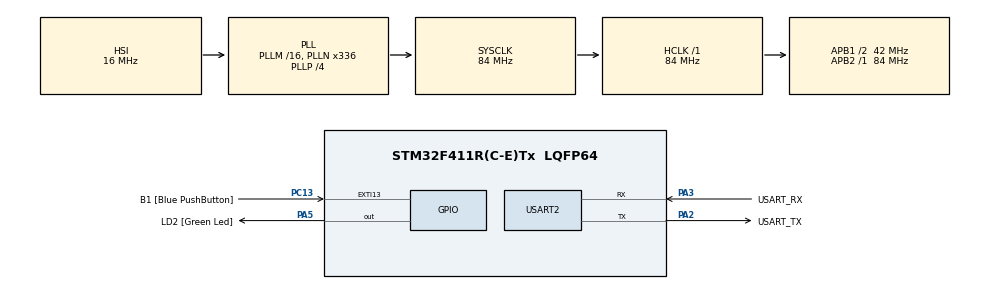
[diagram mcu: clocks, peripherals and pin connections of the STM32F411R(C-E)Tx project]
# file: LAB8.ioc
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Mcu.Family=STM32F4
PC15-OSC32_OUT.Mode=LSE-External-Oscillator
RCC.CortexFreq_Value=84000000
PC13-ANTI_TAMP.GPIO_Label=B1 [Blue PushButton]
PA14.GPIO_Label=TCK
PH1\ -\ OSC_OUT.Mode=HSE-External-Clock-Source
RCC.APB1CLKDivider=RCC_HCLK_DIV2
PC14-OSC32_IN.Signal=RCC_OSC32_IN
NVIC.USART2_IRQn=true\:0\:0\:false\:false\:true\:true\:true
RCC.SYSCLKSource=RCC_SYSCLKSOURCE_PLLCLK
ProjectManager.StackSize=0x400
PA13.Signal=SYS_JTMS-SWDIO
PA3.Mode=Asynchronous
PH0\ -\ OSC_IN.Mode=HSE-External-Clock-Source
PH0\ -\ OSC_IN.Signal=RCC_OSC_IN
ProjectManager.TargetToolchain=STM32CubeIDE
RCC.HCLKFreq_Value=84000000
RCC.APB2TimFreq_Value=84000000
PC15-OSC32_OUT.Signal=RCC_OSC32_OUT
RCC.AHBFreq_Value=84000000
PA5.Signal=GPIO_Output
RCC.HSE_VALUE=8000000
PH1\ -\ OSC_OUT.Signal=RCC_OSC_OUT
board=NUCLEO-F411RE
PC13-ANTI_TAMP.Signal=GPXTI13
RCC.VCOOutputFreq_Value=336000000
RCC.APB2Freq_Value=84000000
PC14-OSC32_IN.Mode=LSE-External-Oscillator
PA14.Mode=Serial_Wire
PA13.Mode=Serial_Wire
Mcu.Name=STM32F411R(C-E)Tx
PA2.Signal=USART2_TX
PA13.GPIO_Label=TMS
RCC.FLatency-AdvancedSettings=FLASH_LATENCY_2
RCC.48MHZClocksFreq_Value=84000000
PB3.Signal=SYS_JTDO-SWO
RCC.SYSCLKFreq_VALUE=84000000
Mcu.Package=LQFP64
PA5.GPIO_Label=LD2 [Green Led]
USART2.VirtualMode=VM_ASYNC
PC13-ANTI_TAMP.GPIO_ModeDefaultEXTI=GPIO_MODE_IT_FALLING
PA2.GPIO_Label=USART_TX
PA14.Signal=SYS_JTCK-SWCLK
ProjectManager.HeapSize=0x200
RCC.HSI_VALUE=16000000
RCC.PLLP=RCC_PLLP_DIV4
NVIC.PriorityGroup=NVIC_PRIORITYGROUP_0
RCC.PLLN=336
RCC.APB1TimFreq_Value=84000000
PA2.Mode=Asynchronous
RCC.APB1Freq_Value=42000000
PA3.GPIO_Label=USART_RX
PA3.Signal=USART2_RX
PB3.GPIO_Label=SWO

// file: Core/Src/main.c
/* USER CODE BEGIN Header */
/**
 ******************************************************************************
 * @file           : main.c
 * @brief          : Main program body
 ******************************************************************************
 * @attention
 *
 * <h2><center>&copy; Copyright (c) 2021 STMicroelectronics.
 * All rights reserved.</center></h2>
 *
 * This software component is licensed by ST under BSD 3-Clause license,
 * the "License"; You may not use this file except in compliance with the
 * License. You may obtain a copy of the License at:
 *                        opensource.org/licenses/BSD-3-Clause
 *
 ******************************************************************************
 */
/* USER CODE END Header */
#include "main.h"

/* USER CODE BEGIN Includes */
#include <stdio.h>
#include <string.h>
/* USER CODE END Includes */

UART_HandleTypeDef huart2;

/* USER CODE BEGIN PV */
char TxDataBuffer[32] = { 0 };
char RxDataBuffer[32] = { 0 };
/* USER CODE END PV */

void SystemClock_Config(void);
static void MX_GPIO_Init(void);
static void MX_USART2_UART_Init(void);
/* USER CODE BEGIN PFP */
void UARTRecieveAndResponsePolling();
int16_t UARTRecieveIT();
/* USER CODE END PFP */

/* USER CODE BEGIN 0 */

enum _StateDisplay                                            //การตั้งชื่อ state โดยให้จำจากตัวเลข
{
  StateDisplay_Start = 0,                                     // สถานะ Start เป็น state 0
  StateDisplay_MenuRoot_Print = 10,                           // สถานะแสดงผล Menu Root เป็น state 10
  StateDisplay_MenuRoot_WaitInput,                            // สถานะรอ input Menu Root เป็น state 11 (โดยอัตโมัติ)
  StateDisplay_Menu0_Print = 20,                              // สถานะแสดงผล Menu 1 เป็น state 20
  StateDisplay_Menu0_WaitInput,                               // สถานะรอ input Menu 1 เป็น state 21 (โดยอัตโมัติ)
  StateDisplay_Menu1_Print = 30,                              // สถานะแสดงผล Menu 2 เป็น state 3
  StateDisplay_Menu1_WaitInput                                // สถานะรอ input Menu 1 เป็น state 31 (โดยอัตโมัติ)
};
uint8_t STATE_Display = 0;
uint8_t delay = 100;
uint8_t freq = 5;
uint8_t arry[2] = {0};
uint8_t Mode = 0;
/* USER CODE END 0 */

int main(void)
{

  /* MCU Configuration--------------------------------------------------------*/

  /* Reset of all peripherals, Initializes the Flash interface and the Systick. */
  HAL_Init();

  /* Configure the system clock */
  SystemClock_Config();

  /* Initialize all configured peripherals */
  MX_GPIO_Init();
  MX_USART2_UART_Init();

  /* Infinite loop */
  /* USER CODE BEGIN WHILE */
	while (1)
	{
		/*Method 1 Polling Mode*/

//		UARTRecieveAndResponsePolling();

		/*Method 2 Interrupt Mode*/
		HAL_UART_Receive_IT(&huart2,  (uint8_t*)RxDataBuffer, 32);

		/*Method 2 W/ 1 Char Received*/
		int16_t inputchar = UARTRecieveIT();
		if(inputchar!=-1)
		{

			sprintf(TxDataBuffer, "ReceivedChar:[%c]\r\n", inputchar);
			HAL_UART_Transmit(&huart2, (uint8_t*)TxDataBuffer, strlen(TxDataBuffer), 1000);
		}
		switch (STATE_Display)
		    {
		    case StateDisplay_Start:
		      STATE_Display = StateDisplay_MenuRoot_Print;
		      break;

		    case StateDisplay_MenuRoot_Print:
		    	sprintf(TxDataBuffer, "0 : LED Control \r\n1 : button Status \r\n");
		    	HAL_UART_Transmit(&huart2, (uint8_t*)TxDataBuffer, strlen(TxDataBuffer), 1000);
		      STATE_Display = StateDisplay_MenuRoot_WaitInput;
		      break;

		    case StateDisplay_MenuRoot_WaitInput:
		      switch (inputchar)
		      {
		      case -1:
		        break;
		      case '0':
		        STATE_Display = StateDisplay_Menu0_Print;
		        break;
		      case '1':
		        STATE_Display = StateDisplay_Menu1_Print;
		        break;
		      default:
		    	 sprintf(TxDataBuffer, "error please try again\r\n");
		    	  		HAL_UART_Transmit(&huart2, (uint8_t*)TxDataBuffer, strlen(TxDataBuffer), 1000);
		        STATE_Display = StateDisplay_MenuRoot_Print;
		        break;
		      }
		      break;

		    case StateDisplay_Menu0_Print:
		    sprintf(TxDataBuffer, "a:Speed Up +1Hz\r\ns:Speed Down -1Hz\r\nd:On/off\r\nx:back\r\n");
		    HAL_UART_Transmit(&huart2, (uint8_t*)TxDataBuffer, strlen(TxDataBuffer), 1000);
		      STATE_Display = StateDisplay_Menu0_WaitInput;
		      break;
		    case StateDisplay_Menu0_WaitInput:
		      switch (inputchar)
		      {
		      case -1:
		        break;
		      case 'a':
		    	freq += 1;
		    	delay = 1000/(2*freq);
			    sprintf(TxDataBuffer, "frequency = %d Hz\r\n",freq);
			    HAL_UART_Transmit(&huart2, (uint8_t*)TxDataBuffer, strlen(TxDataBuffer), 1000);
		        STATE_Display = StateDisplay_Menu0_Print;
		        break;
		      case 's':
		    	if(freq > 0)
		    	{
			    freq -= 1;
			    delay = 1000/(2*freq);
		    	}
				sprintf(TxDataBuffer, "frequency = %d Hz\r\n",freq);
				HAL_UART_Transmit(&huart2, (uint8_t*)TxDataBuffer, strlen(TxDataBuffer), 1000);
		        STATE_Display = StateDisplay_Menu0_Print;
		        break;
		      case 'd':
		    	 if(Mode == 0)
		    	 {
		    		 Mode = 1;
		    	 }
		    	 else if(Mode == 1)
		    	 {
		    		 Mode = 0;
		    	 }
		        STATE_Display = StateDisplay_Menu0_Print;
		        break;
		      case 'x':
		    	STATE_Display = StateDisplay_MenuRoot_Print;
		      	break;
		      default:
		    	sprintf(TxDataBuffer, "error please try again\r\n");
		    	HAL_UART_Transmit(&huart2, (uint8_t*)TxDataBuffer, strlen(TxDataBuffer), 1000);
		    	STATE_Display = StateDisplay_Menu0_Print;
		    	break;
		      }
		      break;

		    case StateDisplay_Menu1_Print:
			   sprintf(TxDataBuffer, "x : back\r\n");
			   HAL_UART_Transmit(&huart2, (uint8_t*)TxDataBuffer, strlen(TxDataBuffer), 1000);
		      STATE_Display = StateDisplay_Menu1_WaitInput;
		      break;

		    case StateDisplay_Menu1_WaitInput:
		      switch (inputchar)
		      {
		      case -1:
		        break;
		      case 'x':
		    	STATE_Display = StateDisplay_MenuRoot_Print;
		    	break;
		      default:
		        STATE_Display = StateDisplay_Menu1_Print;
		        break;
		      }
		      arry[0] = HAL_GPIO_ReadPin(GPIOC, GPIO_PIN_13);
		      if (arry[1] == 1 && arry[0] == 0)
		      {
				   sprintf(TxDataBuffer, "button pressed\r\n");
				   HAL_UART_Transmit(&huart2, (uint8_t*)TxDataBuffer, strlen(TxDataBuffer), 1000);
		      }
		      else if(arry[1] == 0 && arry[0] == 1)
		      {
				   sprintf(TxDataBuffer, "button unpressed\r\n");
				   HAL_UART_Transmit(&huart2, (uint8_t*)TxDataBuffer, strlen(TxDataBuffer), 1000);
		      }
		      arry[1] = arry[0];
		      break;
		    }

		/*This section just simulate Work Load*/
		if(Mode == 0)
		{
			HAL_Delay(delay);
			HAL_GPIO_TogglePin(LD2_GPIO_Port, LD2_Pin);
		}
		else if(Mode == 1)
		{
			HAL_Delay(delay);
			HAL_GPIO_WritePin(LD2_GPIO_Port, LD2_Pin,RESET);
		}
    /* USER CODE END WHILE */

	}
}

void SystemClock_Config(void)
{
  RCC_OscInitTypeDef RCC_OscInitStruct = {0};
  RCC_ClkInitTypeDef RCC_ClkInitStruct = {0};

  /** Configure the main internal regulator output voltage
  */
  __HAL_RCC_PWR_CLK_ENABLE();
  __HAL_PWR_VOLTAGESCALING_CONFIG(PWR_REGULATOR_VOLTAGE_SCALE1);
  /** Initializes the RCC Oscillators according to the specified parameters
  * in the RCC_OscInitTypeDef structure.
  */
  RCC_OscInitStruct.OscillatorType = RCC_OSCILLATORTYPE_HSI;
  RCC_OscInitStruct.HSIState = RCC_HSI_ON;
  RCC_OscInitStruct.HSICalibrationValue = RCC_HSICALIBRATION_DEFAULT;
  RCC_OscInitStruct.PLL.PLLState = RCC_PLL_ON;
  RCC_OscInitStruct.PLL.PLLSource = RCC_PLLSOURCE_HSI;
  RCC_OscInitStruct.PLL.PLLM = 16;
  RCC_OscInitStruct.PLL.PLLN = 336;
  RCC_OscInitStruct.PLL.PLLP = RCC_PLLP_DIV4;
  RCC_OscInitStruct.PLL.PLLQ = 4;
  if (HAL_RCC_OscConfig(&RCC_OscInitStruct) != HAL_OK)
  {
    Error_Handler();
  }
  /** Initializes the CPU, AHB and APB buses clocks
  */
  RCC_ClkInitStruct.ClockType = RCC_CLOCKTYPE_HCLK|RCC_CLOCKTYPE_SYSCLK
                              |RCC_CLOCKTYPE_PCLK1|RCC_CLOCKTYPE_PCLK2;
  RCC_ClkInitStruct.SYSCLKSource = RCC_SYSCLKSOURCE_PLLCLK;
  RCC_ClkInitStruct.AHBCLKDivider = RCC_SYSCLK_DIV1;
  RCC_ClkInitStruct.APB1CLKDivider = RCC_HCLK_DIV2;
  RCC_ClkInitStruct.APB2CLKDivider = RCC_HCLK_DIV1;

  if (HAL_RCC_ClockConfig(&RCC_ClkInitStruct, FLASH_LATENCY_2) != HAL_OK)
  {
    Error_Handler();
  }
}

static void MX_USART2_UART_Init(void)
{

  huart2.Instance = USART2;
  huart2.Init.BaudRate = 115200;
  huart2.Init.WordLength = UART_WORDLENGTH_8B;
  huart2.Init.StopBits = UART_STOPBITS_1;
  huart2.Init.Parity = UART_PARITY_NONE;
  huart2.Init.Mode = UART_MODE_TX_RX;
  huart2.Init.HwFlowCtl = UART_HWCONTROL_NONE;
  huart2.Init.OverSampling = UART_OVERSAMPLING_16;
  if (HAL_UART_Init(&huart2) != HAL_OK)
  {
    Error_Handler();
  }

}

static void MX_GPIO_Init(void)
{
  GPIO_InitTypeDef GPIO_InitStruct = {0};

  /* GPIO Ports Clock Enable */
  __HAL_RCC_GPIOC_CLK_ENABLE();
  __HAL_RCC_GPIOH_CLK_ENABLE();
  __HAL_RCC_GPIOA_CLK_ENABLE();
  __HAL_RCC_GPIOB_CLK_ENABLE();

  /*Configure GPIO pin Output Level */
  HAL_GPIO_WritePin(LD2_GPIO_Port, LD2_Pin, GPIO_PIN_RESET);

  /*Configure GPIO pin : B1_Pin */
  GPIO_InitStruct.Pin = B1_Pin;
  GPIO_InitStruct.Mode = GPIO_MODE_IT_FALLING;
  GPIO_InitStruct.Pull = GPIO_NOPULL;
  HAL_GPIO_Init(B1_GPIO_Port, &GPIO_InitStruct);

  /*Configure GPIO pin : LD2_Pin */
  GPIO_InitStruct.Pin = LD2_Pin;
  GPIO_InitStruct.Mode = GPIO_MODE_OUTPUT_PP;
  GPIO_InitStruct.Pull = GPIO_NOPULL;
  GPIO_InitStruct.Speed = GPIO_SPEED_FREQ_LOW;
  HAL_GPIO_Init(LD2_GPIO_Port, &GPIO_InitStruct);

}

/* USER CODE BEGIN 4 */
void UARTRecieveAndResponsePolling()
{
	char Recieve[32]={0};

	HAL_UART_Receive(&huart2, (uint8_t*)Recieve, 32, 1000);

	sprintf(TxDataBuffer, "Received:[%s]\r\n", Recieve);
	HAL_UART_Transmit(&huart2, (uint8_t*)TxDataBuffer, strlen(TxDataBuffer), 1000);

}

int16_t UARTRecieveIT()
{
	static uint32_t dataPos =0;
	int16_t data=-1;
	if(huart2.RxXferSize - huart2.RxXferCount!=dataPos)
	{
		data=RxDataBuffer[dataPos];
		dataPos= (dataPos+1)%huart2.RxXferSize;
	}
	return data;
}

void HAL_UART_RxCpltCallback(UART_HandleTypeDef *huart)
{
//	sprintf(TxDataBuffer, "Received:[%s]\r\n", RxDataBuffer);
//	HAL_UART_Transmit(&huart2, (uint8_t*)TxDataBuffer, strlen(TxDataBuffer), 1000);
}
/* USER CODE END 4 */

void Error_Handler(void)
{
	__disable_irq();
	while (1)
	{
	}
}

/************************ (C) COPYRIGHT STMicroelectronics *****END OF FILE****/
